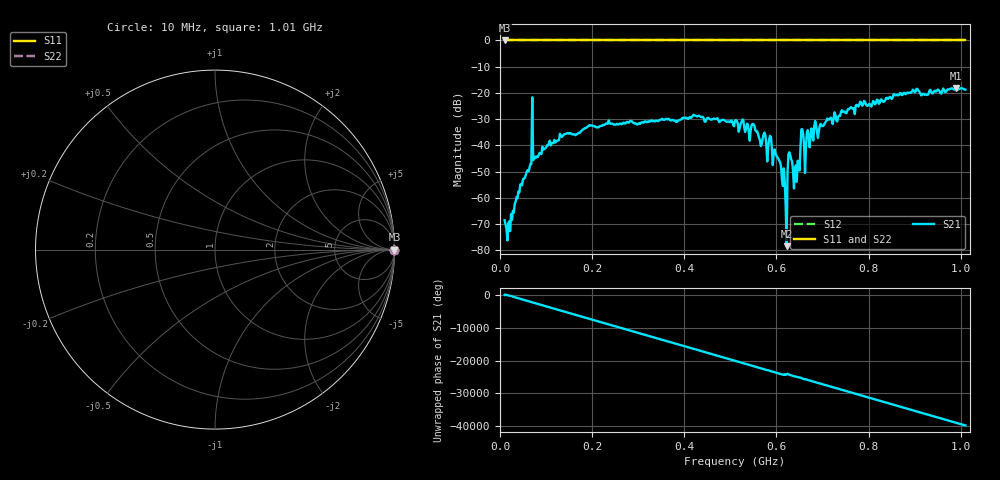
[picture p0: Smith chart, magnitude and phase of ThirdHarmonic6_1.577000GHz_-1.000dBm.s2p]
! 8/16/2025 6:45:59 PM
! C:\ANRITSUVNA\TEMP\TEMP.S2P
! CHANNEL.1
! TR.MEASUREMENT
! RAW.DATA
! RF.CORRECTION.OFF
! AVERAGING.OFF
! IF.BANDWIDTH: 5KHZ
! SWEEPTYPE:  FREQ.SWEEP(Linear)
! Reference Plane Port Info
! PORT:  PORT1  PORT2
! DISTANCE:  0  m  0  m
! TIME:  0  s  0  s
! PHASE.OFFSET:  0  deg.  0  deg.
! LOSS:  0  dB  0  dB
! REF.LOSS:  0  dB  0  dB
! REF.FREQ:  0  Hz  0  Hz
! Power Info
! POWER:  -20  dBm  -20  dBm
! EFF.POWER:  -20  dBm  -20  dBm
! SOURCE.ATTEN:  0  dB  0  dB
! TEST.ATTEN:  0  dB  0  dB
# GHZ S RI R 50.0
! FREQ.GHZ  S11RE  S11IM  S21RE  S21IM  S12RE  S12IM  S22RE  S22IM
!; PortSelection: Port_12
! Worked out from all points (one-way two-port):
!   501 points, 10 MHz to 1.01 GHz, reference 50 ohm
!   highest |S21| = -18.09 dB at 990 MHz (marker M1); lowest = -78.5 dB at 622 MHz (marker M2)
!   lowest |S11| = 0.0 dB at 10 MHz (marker M3)
!   |S11| at or under -10 dB: nowhere
!   |S22| runs from 0.0 to 0.0 dB; largest |S21 - S12| = 1.1
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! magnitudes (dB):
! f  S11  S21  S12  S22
! 10 MHz  0.0  -68.6  0.0  0.0
! 18 MHz  0.0  -69.7  0.0  0.0
! 74 MHz  0.0  -45.3  0.0  0.0
! 76 MHz  0.0  -44.3  0.0  0.0
! 178 MHz  0.0  -34.3  0.0  0.0
! 344 MHz  0.0  -30.8  0.0  0.0
! 510 MHz  0.0  -30.6  0.0  0.0
! 586 MHz  0.0  -36.4  0.0  0.0
! 606 MHz  0.0  -45.8  0.0  0.0
! 614 MHz  0.0  -55.5  0.0  0.0
! 618 MHz  0.0  -54.1  0.0  0.0
! 622 MHz  0.0  -78.5  0.0  0.0
! 630 MHz  0.0  -43.9  0.0  0.0
! 640 MHz  0.0  -49.8  0.0  0.0
! 648 MHz  0.0  -46.9  0.0  0.0
! 656 MHz  0.0  -33.8  0.0  0.0
! 662 MHz  0.0  -50.6  0.0  0.0
! 678 MHz  0.0  -36.6  0.0  0.0
! 744 MHz  0.0  -27.2  0.0  0.0
! 844 MHz  0.0  -22.0  0.0  0.0
! 990 MHz  0.0  -18.1  0.0  0.0
! 1.01 GHz  0.0  -18.8  0.0  0.0
